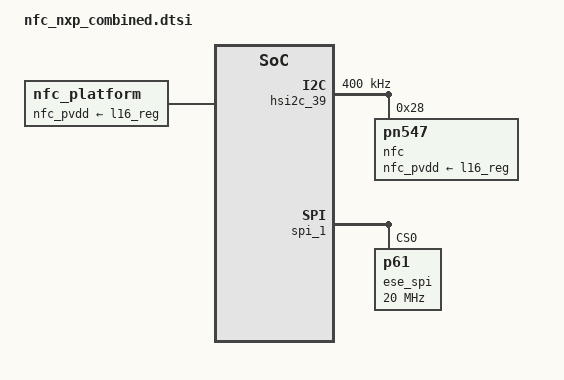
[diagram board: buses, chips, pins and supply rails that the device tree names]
/*
 * This program is free software; you can redistribute it and/or modify
 * it under the terms of the GNU General Public License version 2 and
 * only version 2 as published by the Free Software Foundation.
 *
 * This program is distributed in the hope that it will be useful,
 * but WITHOUT ANY WARRANTY; without even the implied warranty of
 * MERCHANTABILITY or FITNESS FOR A PARTICULAR PURPOSE.  See the
 * GNU General Public License for more details.
 */
&pinctrl_1 {
	nfc_i2c_pull_none: nfc_i2c_pull_none {
		samsung,pins = SEC_GPIO(AP,gpm4,gpm4,0), SEC_GPIO(AP,gpm4,gpm4,1);
		samsung,pin-function = <2>;
		samsung,pin-pud = <0>;
		samsung,pin-con-pdn = <3>;
		samsung,pin-pud-pdn = <0>;
	};
#if 0
	nfc_i2c_no_change: nfc_i2c_no_change {
		samsung,pins = SEC_GPIO(AP,gpm4,gpm4,0), SEC_GPIO(AP,gpm4,gpm4,1);
		samsung,pin-function = <2>;
		samsung,pin-con-pdn = <2>; /* PIN_PDN_INPUT */
	};
	nfc_i2c_pull_up: nfc_i2c_pull_up {
		samsung,pins = SEC_GPIO(AP,gpm4,gpm4,0), SEC_GPIO(AP,gpm4,gpm4,1);
		samsung,pin-function = <2>;
		samsung,pin-pud = <3>;
		samsung,pin-con-pdn = <3>;
		samsung,pin-pud-pdn = <3>;
	};
#endif
};

#if 0
&${xclkout_parent} {
	xclkout: xclkout {
		samsung,pins = SEC_GPIO(${xclkout_gpio});
		samsung,pin-function = <2>;
		samsung,pin-pud = <0>;
	};
};
#endif

&s2mps28_2_gpio {
	nfc_en: nfc_en {
		samsung,pins = SEC_GPIO(PM,s2mps28_2_gpio,gpio_s,4);
		samsung,pin-function = <1>;
		samsung,pin-pud = <0>;
		samsung,pin-con-pdn = <3>;
		samsung,pin-pud-pdn = <0>;
	};
};

#if !0
&pinctrl_0 {
	nfc_clk_req: nfc_clk_req {
		samsung,pins = SEC_GPIO(AP,gpa4,gpa4,0);
#if 0
		samsung,pin-functrion = <0xF>;
#else
		samsung,pin-function = <2>;
#endif
		samsung,pin-pud = <1>;
	};
};
#endif
#if 0
&${nfc_i3c} {
	status = "ok";
	clock-frequency = <400000>;
	samsung,reset-before-trans;
	pinctrl-names = "default";
	pinctrl-0 = <&nfc_i2c_bus>;
	nfc: pn547@28 {
		compatible = "pn547";
		reg = <0x28 0x0 0x10>;
#else
&hsi2c_39 {
	status = "ok";

	clock-frequency = <400000>;
	samsung,reset-before-trans;
#if 0
	pinctrl-names = "default", "i2c_pull_up";
	pinctrl-0 = <&nfc_i2c_no_change>;
	pinctrl-1 = <&nfc_i2c_pull_up>;
#else
	pinctrl-names = "default";
	pinctrl-0 = <&nfc_i2c_pull_none>;
#endif

	nfc: pn547@28 {
		compatible = "pn547";
		reg = <0x28>;
#endif
		/* interrupt-parent = <SEC_GPIO_TYPE(AP,gpa2,gpa2,3)>; */
		/* interrupts = <SEC_GPIO_NUM(AP,gpa2,gpa2,3) 0>; */
		pn547,irq-gpio = <SEC_GPIO_REF(AP,gpa2,gpa2,3) 0>;
		pn547,ven-gpio = <SEC_GPIO_REF(PM,s2mps28_2_gpio,gpio_s,4) 0>;
#if 0	
		pn547,firm-gpio = <SEC_GPIO_REF(${firm_gpio}) 0>;
#endif
#if !0
		pn547,clk_req-gpio = <SEC_GPIO_REF(AP,gpa4,gpa4,0) 0>;
#endif
		pn547,ap_vendor = "slsi";
#if 1	
		nfc_pvdd-supply = <&l16_reg>;
#endif
#if 1
		pn547,late_pvdd_en;
#endif
#if 0
		pn547,always_on_pvdd;
#endif
#if 1
		pn547,irq_all_trigger;
#endif
#if 0
		pn547,change_clkreq_for_acpm;
#endif
#if !0
#if 1
		clkctrl-reg = <0x0>;
#elif 0
		clocks = <&clock OSC_NFC>;
		clock-names = "oscclk_nfc";
#endif
#endif
		pinctrl-names = "default";
#if !0
#if 0
		pinctrl-0 = <&nfc_en &xclkout &nfc_clk_req>;
#else
		pinctrl-0 = <&nfc_en &nfc_clk_req>;
#endif
#else
		pinctrl-0 = <&nfc_en>;
#endif
	};
};

#if 1
#if 0
&${ese_check_parent} {
	ese_check_default: ese_check_default {
		samsung,pins = SEC_GPIO(${ese_check});
		samsung,pin-function = <PIN_AP_FUNC_INPUT>;
		samsung,pin-pud = <PIN_PULL_NONE>;
		samsung,pin-con-pdn = <2>;
		samsung,pin-pud-pdn = <0>;
	};
};
#endif
#if 1
&pinctrl_3 {
	gpio_coldreset_default: gpio_coldreset_default {
		samsung,pins = SEC_GPIO(AP,gpf1,gpf1,0);
		samsung,pin-function = <PIN_AP_FUNC_OUTPUT>;
		samsung,pin-pud = <PIN_PULL_NONE>;
		samsung,pin-con-pdn = <3>;
		samsung,pin-pud-pdn = <0>;
	};
};
#endif
/*
 * sleep:
 *  MISO: In-PU
 *  MOSI/CS/CLK: Out-PU
 */
&pinctrl_7 {
	ese_spi_bus_suspend: ese_spi_bus_suspend {
		samsung,pins = SEC_GPIO(AP,gpp1,gpp1,0), SEC_GPIO(AP,gpp1,gpp1,1);
		samsung,pin-function = <PIN_AP_FUNC_OUTPUT>;
		samsung,pin-pud = <PIN_PULL_UP>;
		samsung,pin-val = <1>;
		samsung,pin-con-pdn = <3>;
		samsung,pin-pud-pdn = <3>;
	};

	ese_spi_bus: ese_spi_bus {
		samsung,pins = SEC_GPIO(AP,gpp1,gpp1,0), SEC_GPIO(AP,gpp1,gpp1,1), SEC_GPIO(AP,gpp1,gpp1,2);
		samsung,pin-function = <2>;
		samsung,pin-pud = <PIN_PULL_NONE>;
	};

	ese_spi_cs_func: ese_spi_cs_func {
		samsung,pins = SEC_GPIO(AP,gpp1,gpp1,3);
		samsung,pin-function = <2>;
		samsung,pin-pud = <PIN_PULL_NONE>;
	};

	ese_spi_miso_suspend: ese_spi_miso_suspend {
		samsung,pins = SEC_GPIO(AP,gpp1,gpp1,2);
		samsung,pin-function = <PIN_AP_FUNC_INPUT>;	/* INPUT */
		samsung,pin-pud = <PIN_PULL_UP>;		/* NONE */
		samsung,pin-con-pdn = <3>;
		samsung,pin-pud-pdn = <3>;
	};
	ese_spi_cs_suspend: ese_spi_cs_suspend {
		samsung,pins = SEC_GPIO(AP,gpp1,gpp1,3);
		samsung,pin-function = <PIN_AP_FUNC_OUTPUT>;	/* OUTPUT */
		samsung,pin-pud = <PIN_PULL_UP>;	/* UP */
		samsung,pin-val = <1>;
		samsung,pin-con-pdn = <3>;
		samsung,pin-pud-pdn = <3>;
	};
	ese_spi_lpm_suspend: ese_spi_lpm_suspend {
		samsung,pins = SEC_GPIO(AP,gpp1,gpp1,0), SEC_GPIO(AP,gpp1,gpp1,1), SEC_GPIO(AP,gpp1,gpp1,2), SEC_GPIO(AP,gpp1,gpp1,3);
		samsung,pin-function = <PIN_AP_FUNC_OUTPUT>;	/* OUTPUT */
		samsung,pin-pud = <PIN_PULL_DOWN>;		/* DOWN */
		samsung,pin-val = <0>;
	};
};

&spi_1 {
	status = "ok";
	/delete-property/ pinctrl-names;
	/delete-property/ pinctrl-0;
	pinctrl-names = "default", "ese_on", "ese_off", "lpm";
	pinctrl-0 = <&ese_spi_lpm_suspend>;
	pinctrl-1 = <&ese_spi_bus &ese_spi_cs_func>;
	pinctrl-2 = <&ese_spi_bus_suspend &ese_spi_miso_suspend &ese_spi_cs_suspend>;
	pinctrl-3 = <&ese_spi_lpm_suspend>;
	ese_spi@0 {
		compatible = "p61";
		reg = <0>;
		spi-max-frequency = <20000000>;
		p61,ap_vendor = "slsi";
		nxp,nfcc = <&nfc>;
#if 1
		p61,gpio_coldreset_support;
		p61,gpio-rst = <SEC_GPIO_REF(AP,gpf1,gpf1,0) 0>;
#endif
#if 0
		ese-det-gpio = <SEC_GPIO_REF(${ese_check}) 0>;
#endif
#if 0 || 1
		pinctrl-names = "default";
		pinctrl-0 = <
#if 0
			&ese_check_default
#endif
#if 1
			&gpio_coldreset_default
#endif
					>;
#endif
		controller-data {
			samsung,spi-feedback-delay = <0>;
			samsung,spi-chip-select-mode = <0>;
		};
	};
};
#endif

/ {
	fragment@ese_platform {
		target-path = "/";
		__overlay__ {
			ese_platform {
				compatible = "p61_platform";
			};
		};
	};

	fragment@nfc_platform {
		target-path = "/";
		__overlay__ {
			nfc_platform {
				compatible = "nfc_platform";
#if 1
				pn547,late_pvdd_en;
#endif
#if 1	
				nfc_pvdd-supply = <&l16_reg>;
#endif
			};
		};
	};
};

